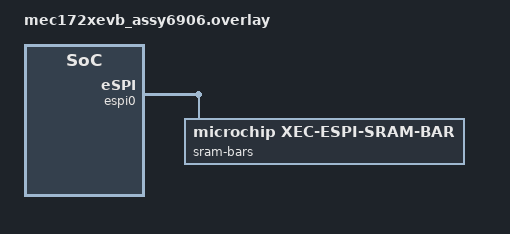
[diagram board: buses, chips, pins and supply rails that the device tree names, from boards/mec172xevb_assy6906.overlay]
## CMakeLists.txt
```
# Copyright (c) 2026 Microchip Technology Inc.
# SPDX-License-Identifier: Apache-2.0

cmake_minimum_required(VERSION 3.28.0)

find_package(Zephyr REQUIRED HINTS $ENV{ZEPHYR_BASE})
project(espi)

target_sources(app PRIVATE src/main.c)
```

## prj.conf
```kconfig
CONFIG_ESPI=y
CONFIG_ZTEST=y
```

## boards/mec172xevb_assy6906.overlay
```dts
/*
 * Copyright (c) 2026 Microchip Technology Inc.
 *
 * SPDX-License-Identifier: Apache-2.0
 */

&espi0 {
	sram-bars {
		compatible = "microchip,xec-espi-sram-bar";
		#address-cells = <1>;
		#size-cells = <0>;

		sram-bar@0 {
			reg = <0>;
			host-address = <0x20000000>;
			size = <1024>;
			access = "READ_WRITE";
		};

		sram-bar@1 {
			reg = <1>;
			host-address = <0x20010000>;
			size = <4096>;
			access = "READ_ONLY";
		};
	};
};
```

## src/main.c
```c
/*
 * Copyright (c) 2026 Microchip Technology Inc.
 *
 * SPDX-License-Identifier: Apache-2.0
 */

#include <errno.h>
#include <zephyr/device.h>
#include <zephyr/drivers/espi/mchp_xec_espi.h>
#include <zephyr/sys/util.h>
#include <zephyr/ztest.h>

#define SRAM_BAR0_SIZE 1024U
#define SRAM_BAR1_SIZE 4096U

static const struct device *const espi_dev = DEVICE_DT_GET(DT_NODELABEL(espi0));

static void check_sram_bar(uint8_t id, size_t exp_size)
{
	uint8_t *buf = NULL;
	size_t size = 0;
	int ret;

	ret = mchp_xec_espi_sram_bar_get(espi_dev, id, &buf, &size);
	zassert_equal(ret, 0, "SRAM BAR %u get failed (%d)", id, ret);
	zassert_not_null(buf, "SRAM BAR %u buffer is NULL", id);
	zassert_equal(size, exp_size, "SRAM BAR %u size %zu", id, size);
	zassert_equal((uintptr_t)buf % size, 0U, "SRAM BAR %u buffer %p not aligned", id,
		      (void *)buf);
}

ZTEST(espi_sram_bar, test_sram_bar_get)
{
	check_sram_bar(0U, SRAM_BAR0_SIZE);
	check_sram_bar(1U, SRAM_BAR1_SIZE);
}

ZTEST(espi_sram_bar, test_sram_bar_get_invalid_args)
{
	uint8_t *buf;
	size_t size;

	zassert_equal(mchp_xec_espi_sram_bar_get(NULL, 0U, &buf, &size), -EINVAL);
	zassert_equal(mchp_xec_espi_sram_bar_get(espi_dev, 0U, NULL, &size), -EINVAL);
	zassert_equal(mchp_xec_espi_sram_bar_get(espi_dev, 0U, &buf, NULL), -EINVAL);
}

ZTEST(espi_sram_bar, test_sram_bar_get_unknown_id)
{
	uint8_t *buf;
	size_t size;

	zassert_equal(mchp_xec_espi_sram_bar_get(espi_dev, 2U, &buf, &size), -ENODEV);
}

ZTEST_SUITE(espi_sram_bar, NULL, NULL, NULL, NULL, NULL);
```
